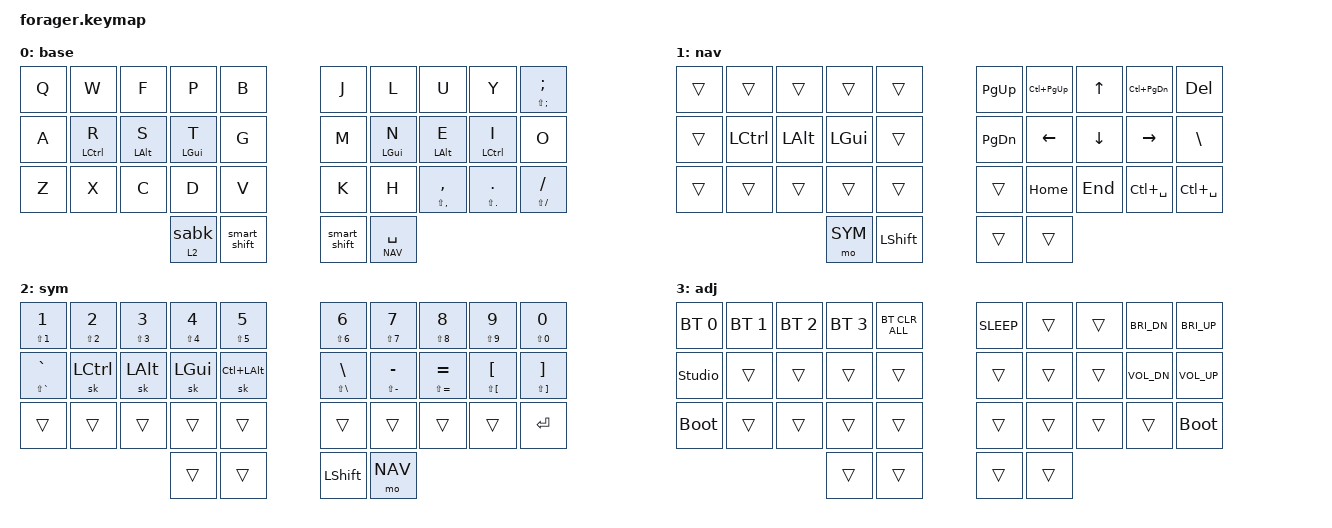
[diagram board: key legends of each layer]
#include <behaviors.dtsi>
#include <dt-bindings/zmk/keys.h>
#include <dt-bindings/zmk/bt.h>
#include <dt-bindings/zmk/outputs.h>

#define BASE 0
#define NAV  1
#define SYM  2
#define ADJ  3

/ {
    behaviors {
        as: auto_shift {
            compatible = "zmk,behavior-hold-tap";
            #binding-cells = <2>;
            tapping-term-ms = <250>;
            require-prior-idle-ms = <100>;
            flavor = "tap-preferred";
            bindings = <&kp>, <&kp>;
        };
        ht: hold_tap {
            compatible = "zmk,behavior-hold-tap";
            #binding-cells = <2>;
            tapping-term-ms = <200>;
            flavor = "balanced";
            bindings = <&kp>, <&kp>;
        };
        sabk: shift_to_alt_backspace {
            compatible = "zmk,behavior-mod-morph";
            #binding-cells = <0>;
            bindings = <&kp BSPC>, <&kp LA(BSPC)>;
            mods = <(MOD_LSFT|MOD_RSFT)>;
        };
        smart_shift: smart_shift {
            compatible = "zmk,behavior-mod-morph";
            #binding-cells = <0>;
            bindings = <&sk LSHFT>, <&caps_word>;
            mods = <(MOD_LSFT|MOD_RSFT)>;
        };
        sym_bspc: left_thumb_hold_tap {
            compatible = "zmk,behavior-hold-tap";
            #binding-cells = <2>;
            flavor = "tap-preferred";
            tapping-term-ms = <150>;
            quick-tap-ms = <200>;
            bindings = <&mo>, <&sabk>;
        };
        lhm: left_homerow_mods {
            compatible = "zmk,behavior-hold-tap";
            #binding-cells = <2>;
            flavor = "balanced";
            tapping-term-ms = <280>;
            quick-tap-ms = <175>;
            require-prior-idle-ms = <150>;
            bindings = <&kp>, <&kp>;
            hold-trigger-key-positions = <5 6 7 8 9 15 16 17 18 19 25 26 27 28 29 30 31 32 33>;
        };
        rhm: right_homerow_mods {
            compatible = "zmk,behavior-hold-tap";
            #binding-cells = <2>;
            flavor = "balanced";
            tapping-term-ms = <280>;
            quick-tap-ms = <175>;
            require-prior-idle-ms = <150>;
            bindings = <&kp>, <&kp>;
            hold-trigger-key-positions = <0 1 2 3 4 10 11 12 13 14 20 21 22 23 24 30 31 32 33>;
        };
    };

    conditional_layers {
        compatible = "zmk,conditional-layers";
        tri_layer {
            if-layers = <1 2>;
            then-layer = <3>;
        };
    };

    keymap {
        compatible = "zmk,keymap";

        base {
            bindings = <
            &kp Q           &kp W           &kp F           &kp P           &kp B                                           &kp J           &kp L           &kp U           &kp Y           &as LS(SEMI) SEMI
            &kp A           &lhm LCTRL R    &lhm LALT S     &lhm LGUI T     &kp G                                           &kp M           &rhm LGUI N     &rhm LALT E     &rhm LCTRL I    &kp O
            &kp Z           &kp X           &kp C           &kp D           &kp V                                           &kp K           &kp H           &as LS(COMMA) COMMA &as LS(DOT) DOT &as LS(FSLH) FSLH
                                                                            &sym_bspc 2 0   &smart_shift    &smart_shift    &lt NAV SPACE
            >;
        };

        nav {
            bindings = <
            &trans          &trans          &trans          &trans          &trans                                          &kp PAGE_UP     &kp LC(PG_UP)   &kp UP          &kp LC(PG_DN)   &kp DELETE
            &trans          &kp LCTRL       &kp LALT        &kp LGUI        &trans                                          &kp PAGE_DOWN   &kp LEFT        &kp DOWN        &kp RIGHT       &kp BSLH
            &trans          &trans          &trans          &trans          &trans                                          &trans          &kp HOME        &kp END         &kp LC(SPACE)   &kp LC(SPACE)
                                                                            &mo SYM         &kp LSHFT       &trans          &trans
            >;
        };

        sym {
            bindings = <
            &as LS(N1) N1   &as LS(N2) N2   &as LS(N3) N3   &as LS(N4) N4   &as LS(N5) N5                                   &as LS(N6) N6   &as LS(N7) N7   &as LS(N8) N8   &as LS(N9) N9   &as LS(N0) N0
            &as LS(GRAVE) GRAVE &sk LCTRL   &sk LALT        &sk LGUI        &sk LC(LALT)                                    &as LS(BSLH) BSLH &as LS(MINUS) MINUS &as LS(EQUAL) EQUAL &as LS(LBKT) LBKT &as LS(RBKT) RBKT
            &trans          &trans          &trans          &trans          &trans                                          &trans          &trans          &trans          &trans          &kp ENTER
                                                                            &trans          &trans          &kp LSHFT       &mo NAV
            >;
        };

        adj {
            bindings = <
            &bt BT_SEL 0    &bt BT_SEL 1    &bt BT_SEL 2    &bt BT_SEL 3    &bt BT_CLR_ALL                                  &kp C_SLEEP     &trans          &trans          &kp C_BRI_DN    &kp C_BRI_UP
            &studio_unlock  &trans          &trans          &trans          &trans                                          &trans          &trans          &trans          &kp C_VOL_DN    &kp C_VOL_UP
            &bootloader     &trans          &trans          &trans          &trans                                          &trans          &trans          &trans          &trans          &bootloader
                                                                            &trans          &trans          &trans          &trans
            >;
        };
    };
};

&lt {
    // require-prior-idle-ms = <100>;
    tapping-term-ms = <150>;
    quick-tap-ms = <200>;
};

&mt {
    quick-tap-ms = <200>;
};

&sk {
    release-after-ms = <500>;
    quick-release;
};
